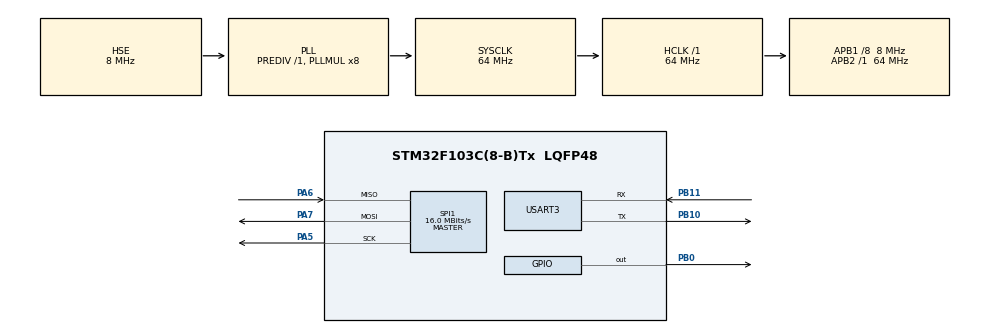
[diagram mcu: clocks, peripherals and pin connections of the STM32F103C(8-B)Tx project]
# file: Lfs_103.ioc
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Mcu.Family=STM32F1
Mcu.Name=STM32F103C(8-B)Tx
Mcu.Package=LQFP48
NVIC.PriorityGroup=NVIC_PRIORITYGROUP_4
PA13.Mode=Serial_Wire
PA13.Signal=SYS_JTMS-SWDIO
PA14.Mode=Serial_Wire
PA14.Signal=SYS_JTCK-SWCLK
PA5.Mode=Full_Duplex_Master
PA5.Signal=SPI1_SCK
PA6.Mode=Full_Duplex_Master
PA6.Signal=SPI1_MISO
PA7.Mode=Full_Duplex_Master
PA7.Signal=SPI1_MOSI
PB0.GPIO_Speed=GPIO_SPEED_FREQ_HIGH
PB0.PinState=GPIO_PIN_SET
PB0.Signal=GPIO_Output
PB10.Mode=Asynchronous
PB10.Signal=USART3_TX
PB11.Mode=Asynchronous
PB11.Signal=USART3_RX
PD0-OSC_IN.Mode=HSE-External-Oscillator
PD0-OSC_IN.Signal=RCC_OSC_IN
PD1-OSC_OUT.Mode=HSE-External-Oscillator
PD1-OSC_OUT.Signal=RCC_OSC_OUT
ProjectManager.HeapSize=0x200
ProjectManager.StackSize=0x400
ProjectManager.TargetToolchain=STM32CubeIDE
RCC.AHBFreq_Value=64000000
RCC.APB1CLKDivider=RCC_HCLK_DIV8
RCC.APB1Freq_Value=8000000
RCC.APB1TimFreq_Value=16000000
RCC.APB2Freq_Value=64000000
RCC.APB2TimFreq_Value=64000000
RCC.HCLKFreq_Value=64000000
RCC.PLLMUL=RCC_PLL_MUL8
RCC.PLLSourceVirtual=RCC_PLLSOURCE_HSE
RCC.SYSCLKFreq_VALUE=64000000
RCC.SYSCLKSource=RCC_SYSCLKSOURCE_PLLCLK
RCC.USBFreq_Value=64000000
SPI1.BaudRatePrescaler=SPI_BAUDRATEPRESCALER_4
SPI1.CalculateBaudRate=16.0 MBits/s
SPI1.Direction=SPI_DIRECTION_2LINES
SPI1.Mode=SPI_MODE_MASTER
SPI1.VirtualType=VM_MASTER
USART3.VirtualMode=VM_ASYNC
board=custom

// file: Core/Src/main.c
/* USER CODE BEGIN Header */
/**
  ******************************************************************************
  * @file           : main.c
  * @brief          : Main program body
  ******************************************************************************
  * @attention
  *
  * Copyright (c) 2024 STMicroelectronics.
  * All rights reserved.
  *
  * This software is licensed under terms that can be found in the LICENSE file
  * in the root directory of this software component.
  * If no LICENSE file comes with this software, it is provided AS-IS.
  *
  ******************************************************************************
  */
/* USER CODE END Header */
#include "main.h"

/* USER CODE BEGIN Includes */

#include <stdio.h>
#include <stdbool.h>
#include <string.h>

#include "spif.h"
#include "lfs.h"

#include "local_storage.h"

/* USER CODE END Includes */

/* USER CODE BEGIN PD */
#define PAGE_SIZE 4096
/* USER CODE END PD */

SPI_HandleTypeDef hspi1;

UART_HandleTypeDef huart3;

void SystemClock_Config(void);
static void MX_GPIO_Init(void);
static void MX_SPI1_Init(void);
static void MX_USART3_UART_Init(void);
/* USER CODE BEGIN PFP */

int _write(int file, char *ptr, int len)
{
  HAL_UART_Transmit(&huart3, (uint8_t*)ptr, len, HAL_MAX_DELAY);
  return len;
}

/* USER CODE END PFP */

int main(void)
{
  /* USER CODE BEGIN 1 */
	char file_to_write_test[43]="a quick brown fox jumps over the lazy dog \n" ;

  /* USER CODE END 1 */

  /* MCU Configuration--------------------------------------------------------*/

  /* Reset of all peripherals, Initializes the Flash interface and the Systick. */
  HAL_Init();

  /* Configure the system clock */
  SystemClock_Config();

  /* Initialize all configured peripherals */
  MX_GPIO_Init();
  MX_SPI1_Init();
  MX_USART3_UART_Init();

  /* Infinite loop */
  /* USER CODE BEGIN WHILE */

  Storage_error_t  err = init_storage(&hspi1 ,GPIOB, GPIO_PIN_0);
  if(err != STORAGE_OK )
  {
	  printf("main : fail to initialize local storage \n");	while(1);
  }
//  Storage_t * _storage = get_storage_instance();
//  if(_storage == NULL)
//  {
//	  printf("local storage instance null \n "); while(1);
//  }
//  char lb[48];
//  for(int i=0 ; i<28; i++)
//  {
//  		  memset(lb, 0, sizeof(lb));
////  		  itoa(i, lb, 10);
////  		  strcat(lb, " : location data \n") ;
////  		 _storage->push(lb, 19);
//		  _storage->pop(lb, 15);
//		  printf("read lfs %s \n", lb);
//		  HAL_Delay(50);
//  }

  Info_firmware_t _firmware ;
  err = get_firmware_info(&_firmware);
  if(err != 1)
  {
	  printf("fail to get firmware info \n");	while(1);
  }

  printf("firmware local dir : %s \n", _firmware.local_firmwre_dir);

  //_firmware.remove();

  int p = 8 ;
  int x = 43/p ;
  char my_temp_buff[8];
  for(int i=0; i<=x; i++)
  {
	  memset(my_temp_buff, 0, 8);
	  if((43-x*i) < 8)
	  {
		  p = 43-x*i ;
	  }
	  memcpy(my_temp_buff, &file_to_write_test[i*p], p);
	  printf("main:to write %s \n", my_temp_buff);
	  _firmware.write((uint8_t *)my_temp_buff, p);
  }

  p=8 ;
  for(int i=0; i<=x; i++)
  {
	  int seek = i*p ;
	  if((43-x*i) < 8)
	  {
		  p = 43-x*i ;
	  }
	  memset(my_temp_buff, 0, 8);
	  _firmware.read((uint8_t *)my_temp_buff, p, seek);
	  printf("%s", my_temp_buff);
  }
  printf("\n");
  while (1)
  {
    /* USER CODE END WHILE */

    /* USER CODE BEGIN 3 */

//	  Storage_t _storage = {
//			  .spi_handle =  &hspi1 ,
//			  .gpio_handle = GPIOB ,
//			  .pin = GPIO_PIN_0
//	  };
//
//	  int err = storage_init(&_storage) ;
//	  if(err != 0)
//	  {
//		  printf("main :: storage init fail \n");
//	  }
////	  _storage.kv_set(version_info, "0.0.01");
//	  char lb[48];
//	  for(int i=0 ; i<2048; i++)
//	  {
//		  memset(lb, 0, sizeof(lb));
//		  itoa(i, lb, 10);
//		  strcat(lb, " : test data \n") ;
//		 _storage.push(lb, 15);
////		  _storage.pop(lb, 15);
////		  printf("read lfs %s \n", lb);
////		  HAL_Delay(50);
//	  }
//
//	  //_storage.pop(lb, 15);
//	  while(1)
//	  {
		  printf("Main Loop ... \n");
		  HAL_Delay(1000);
//	  }
  }
  /* USER CODE END 3 */
}

void SystemClock_Config(void)
{
  RCC_OscInitTypeDef RCC_OscInitStruct = {0};
  RCC_ClkInitTypeDef RCC_ClkInitStruct = {0};

  /** Initializes the RCC Oscillators according to the specified parameters
  * in the RCC_OscInitTypeDef structure.
  */
  RCC_OscInitStruct.OscillatorType = RCC_OSCILLATORTYPE_HSE;
  RCC_OscInitStruct.HSEState = RCC_HSE_ON;
  RCC_OscInitStruct.HSEPredivValue = RCC_HSE_PREDIV_DIV1;
  RCC_OscInitStruct.HSIState = RCC_HSI_ON;
  RCC_OscInitStruct.PLL.PLLState = RCC_PLL_ON;
  RCC_OscInitStruct.PLL.PLLSource = RCC_PLLSOURCE_HSE;
  RCC_OscInitStruct.PLL.PLLMUL = RCC_PLL_MUL8;
  if (HAL_RCC_OscConfig(&RCC_OscInitStruct) != HAL_OK)
  {
    Error_Handler();
  }

  /** Initializes the CPU, AHB and APB buses clocks
  */
  RCC_ClkInitStruct.ClockType = RCC_CLOCKTYPE_HCLK|RCC_CLOCKTYPE_SYSCLK
                              |RCC_CLOCKTYPE_PCLK1|RCC_CLOCKTYPE_PCLK2;
  RCC_ClkInitStruct.SYSCLKSource = RCC_SYSCLKSOURCE_PLLCLK;
  RCC_ClkInitStruct.AHBCLKDivider = RCC_SYSCLK_DIV1;
  RCC_ClkInitStruct.APB1CLKDivider = RCC_HCLK_DIV8;
  RCC_ClkInitStruct.APB2CLKDivider = RCC_HCLK_DIV1;

  if (HAL_RCC_ClockConfig(&RCC_ClkInitStruct, FLASH_LATENCY_2) != HAL_OK)
  {
    Error_Handler();
  }
}

static void MX_SPI1_Init(void)
{

  /* SPI1 parameter configuration*/
  hspi1.Instance = SPI1;
  hspi1.Init.Mode = SPI_MODE_MASTER;
  hspi1.Init.Direction = SPI_DIRECTION_2LINES;
  hspi1.Init.DataSize = SPI_DATASIZE_8BIT;
  hspi1.Init.CLKPolarity = SPI_POLARITY_LOW;
  hspi1.Init.CLKPhase = SPI_PHASE_1EDGE;
  hspi1.Init.NSS = SPI_NSS_SOFT;
  hspi1.Init.BaudRatePrescaler = SPI_BAUDRATEPRESCALER_4;
  hspi1.Init.FirstBit = SPI_FIRSTBIT_MSB;
  hspi1.Init.TIMode = SPI_TIMODE_DISABLE;
  hspi1.Init.CRCCalculation = SPI_CRCCALCULATION_DISABLE;
  hspi1.Init.CRCPolynomial = 10;
  if (HAL_SPI_Init(&hspi1) != HAL_OK)
  {
    Error_Handler();
  }

}

static void MX_USART3_UART_Init(void)
{

  huart3.Instance = USART3;
  huart3.Init.BaudRate = 115200;
  huart3.Init.WordLength = UART_WORDLENGTH_8B;
  huart3.Init.StopBits = UART_STOPBITS_1;
  huart3.Init.Parity = UART_PARITY_NONE;
  huart3.Init.Mode = UART_MODE_TX_RX;
  huart3.Init.HwFlowCtl = UART_HWCONTROL_NONE;
  huart3.Init.OverSampling = UART_OVERSAMPLING_16;
  if (HAL_UART_Init(&huart3) != HAL_OK)
  {
    Error_Handler();
  }

}

static void MX_GPIO_Init(void)
{
  GPIO_InitTypeDef GPIO_InitStruct = {0};

  /* GPIO Ports Clock Enable */
  __HAL_RCC_GPIOD_CLK_ENABLE();
  __HAL_RCC_GPIOA_CLK_ENABLE();
  __HAL_RCC_GPIOB_CLK_ENABLE();

  /*Configure GPIO pin Output Level */
  HAL_GPIO_WritePin(GPIOB, GPIO_PIN_0, GPIO_PIN_SET);

  /*Configure GPIO pin : PB0 */
  GPIO_InitStruct.Pin = GPIO_PIN_0;
  GPIO_InitStruct.Mode = GPIO_MODE_OUTPUT_PP;
  GPIO_InitStruct.Pull = GPIO_NOPULL;
  GPIO_InitStruct.Speed = GPIO_SPEED_FREQ_HIGH;
  HAL_GPIO_Init(GPIOB, &GPIO_InitStruct);

}

void Error_Handler(void)
{
  __disable_irq();
  while (1)
  {
  }
}
